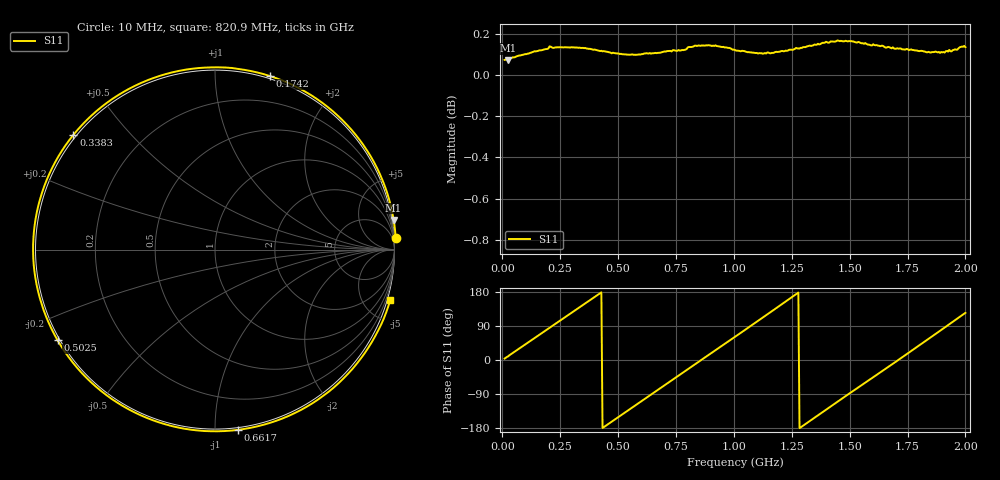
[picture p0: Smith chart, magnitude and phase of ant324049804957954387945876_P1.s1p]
!Created with skrf (http://scikit-rf.org).
# Hz S RI R 50.0
!freq ReS11 ImS11
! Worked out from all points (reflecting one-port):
!   401 points, 10 MHz to 2 GHz, reference 50 ohm
!   lowest |S11| = 0.1 dB at 24.93 MHz (marker M1)
!   phase of S11 starts at 4 deg and turns +841 deg over the sweep
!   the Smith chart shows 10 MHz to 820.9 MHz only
!   S11 on the Smith chart (normalised r, x): 10 MHz: -4, +29; 174.2 MHz: -0.02, +1.37; 338.4 MHz: -0.01, +0.35; 502.5 MHz: -0.01, -0.27; 661.7 MHz: -0.01, -1.13; 820.9 MHz: -0.41, -7.15
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1e7  1.006 0.0673
2.4925e7  0.9948 0.1652
9.4575e7  0.784 0.6394
1.74175e8  0.3064 0.9668
2.5875e8  -0.3085 0.9678
3.3835e8  -0.7887 0.6395
4.22925e8  -1.012 0.0634
5.02525e8  -0.8772 -0.505
5.075e8  -0.8578 -0.5367
5.871e8  -0.4159 -0.9221
6.61725e8  0.1258 -1.005
7.5625e8  0.7412 -0.6916
8.20925e8  0.9772 -0.278
9.10475e8  0.9456 0.3734
1.005e9  0.4889 0.8886
1.0647e9  0.0641 1.011
1.1244e9  -0.3753 0.94
1.19405e9  -0.794 0.6294
1.25375e9  -0.9893 0.2237
1.3632e9  -0.8418 -0.5719
1.437825e9  -0.417 -0.9298
1.5025e9  0.0546 -1.018
1.567175e9  0.5108 -0.8808
1.636825e9  0.8726 -0.5215
1.75125e9  0.9686 0.3021
1.8806e9  0.3003 0.9673
1.935325e9  -0.1144 1.007
2e9  -0.5742 0.838
